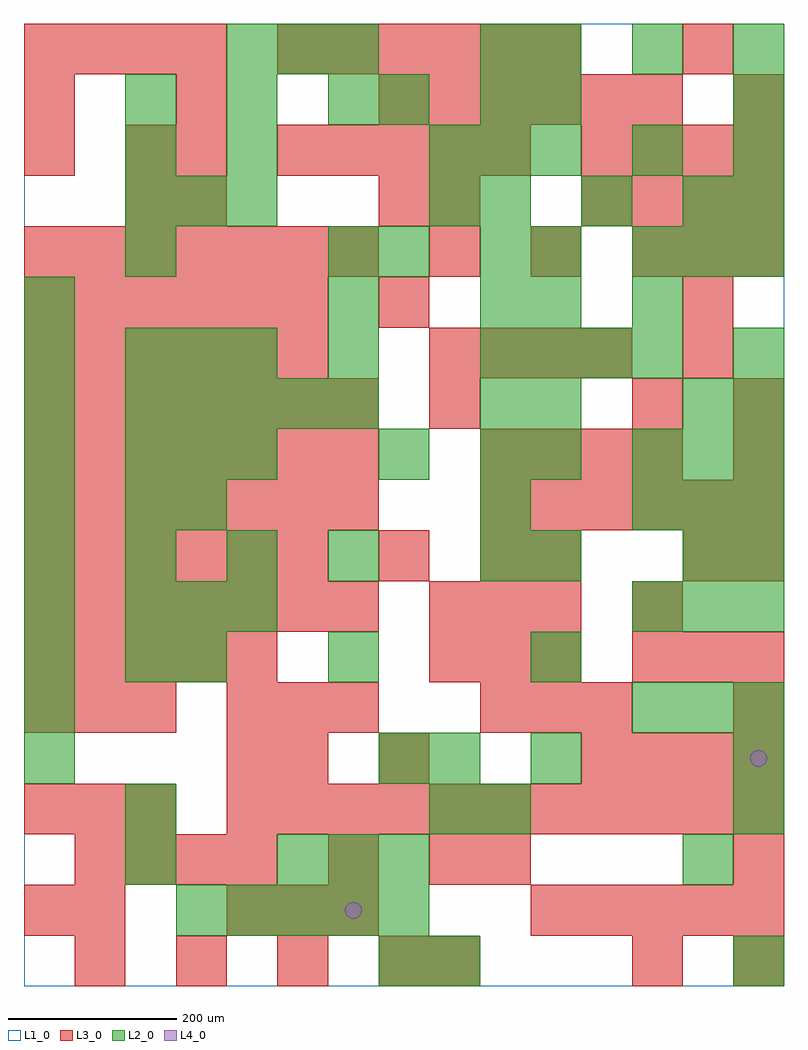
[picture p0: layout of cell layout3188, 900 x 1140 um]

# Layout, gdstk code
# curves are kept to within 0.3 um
import gdstk
lib = gdstk.Library(unit=1e-6, precision=1e-09)
def R(c, l, rs):  # rectangles x0, y0, x1, y1
    for r in rs: c.add(gdstk.rectangle(r[:2], r[2:], *l))
def A(c, l, x, y, w, h, nx, ny, dx, dy):  # array of equal rectangles
    R(c, l, [(x+i*dx, y+j*dy, x+i*dx+w, y+j*dy+h) for i in range(nx) for j in range(ny)])
def P(c, l, *ps):  # polygons
    for p in ps: c.add(gdstk.Polygon(p, *l))
L1_0 = (1, 0)
L2_0 = (2, 0)
L3_0 = (3, 0)
L4_0 = (4, 0)

layout3188 = lib.new_cell('layout3188')
R(layout3188, L1_0, [(0,0,900,1140)])
A(layout3188, L2_0, 180, 60, 60, 60, 5, 1, 60, 0)
A(layout3188, L2_0, 300, 120, 60, 60, 3, 1, 60, 0)
A(layout3188, L2_0, 120, 180, 60, 60, 1, 3, 0, 180)
A(layout3188, L2_0, 0, 240, 60, 60, 1, 4, 0, 60)
A(layout3188, L2_0, 600, 240, 60, 60, 1, 4, 0, 120)
A(layout3188, L2_0, 720, 300, 60, 60, 3, 3, 60, 120)
A(layout3188, L2_0, 120, 420, 60, 60, 3, 2, 60, 180)
A(layout3188, L2_0, 0, 480, 60, 60, 4, 1, 120, 0)
A(layout3188, L2_0, 540, 480, 60, 60, 1, 4, 0, 60)
A(layout3188, L2_0, 0, 540, 60, 60, 1, 5, 0, 60)
A(layout3188, L2_0, 720, 600, 60, 60, 3, 2, 60, 240)
A(layout3188, L2_0, 120, 660, 60, 60, 5, 1, 60, 0)
A(layout3188, L2_0, 120, 720, 60, 60, 3, 2, 60, 180)
A(layout3188, L2_0, 360, 720, 60, 60, 1, 3, 0, 60)
A(layout3188, L2_0, 540, 720, 60, 60, 4, 1, 60, 0)
A(layout3188, L2_0, 540, 900, 60, 60, 3, 1, 120, 0)
A(layout3188, L2_0, 840, 900, 60, 60, 1, 3, 0, 60)
A(layout3188, L2_0, 480, 960, 60, 60, 3, 1, 60, 0)
A(layout3188, L2_0, 120, 1020, 60, 60, 3, 1, 120, 0)
A(layout3188, L2_0, 240, 1080, 60, 60, 3, 1, 60, 0)
A(layout3188, L2_0, 600, 1080, 60, 60, 3, 1, 120, 0)
R(layout3188, L2_0, [(420,0,480,60), (480,0,540,60), (840,0,900,60), (120,120,180,180), (780,120,840,180), (480,180,540,240), (540,180,600,240), (840,180,900,240), (420,240,480,300), (480,240,540,300), (840,240,900,300), (180,360,240,420), (360,360,420,420), (780,480,840,540), (840,480,900,540), (180,540,240,600), (420,600,480,660), (600,660,660,720), (780,660,840,720), (840,660,900,720), (840,720,900,780), (540,780,600,840), (600,780,660,840), (720,780,780,840), (120,840,180,900), (420,840,480,900), (540,840,600,900), (600,840,660,900), (480,900,540,960), (120,960,180,1020), (240,960,300,1020), (720,960,780,1020), (420,1020,480,1080), (540,1020,600,1080), (600,1020,660,1080), (540,1080,600,1140)])
A(layout3188, L3_0, 60, 0, 60, 60, 4, 1, 120, 0)
A(layout3188, L3_0, 240, 60, 60, 60, 3, 2, 60, 240)
A(layout3188, L3_0, 600, 60, 60, 60, 5, 1, 60, 0)
A(layout3188, L3_0, 60, 120, 60, 60, 4, 1, 60, 0)
A(layout3188, L3_0, 840, 120, 60, 60, 1, 3, 0, 180)
A(layout3188, L3_0, 0, 180, 60, 60, 3, 2, 60, 120)
A(layout3188, L3_0, 240, 180, 60, 60, 11, 1, 60, 0)
A(layout3188, L3_0, 660, 240, 60, 60, 4, 2, 60, 660)
A(layout3188, L3_0, 540, 300, 60, 60, 3, 1, 60, 0)
A(layout3188, L3_0, 0, 360, 60, 60, 5, 1, 60, 0)
A(layout3188, L3_0, 480, 360, 60, 60, 3, 2, 60, 60)
A(layout3188, L3_0, 720, 360, 60, 60, 3, 1, 60, 0)
A(layout3188, L3_0, 0, 420, 60, 60, 7, 2, 60, 120)
A(layout3188, L3_0, 0, 480, 60, 60, 6, 2, 60, 240)
A(layout3188, L3_0, 540, 540, 60, 60, 6, 1, 60, 0)
A(layout3188, L3_0, 0, 600, 60, 60, 7, 2, 60, 60)
A(layout3188, L3_0, 540, 600, 60, 60, 4, 1, 60, 0)
A(layout3188, L3_0, 840, 660, 60, 60, 1, 3, 0, 180)
A(layout3188, L3_0, 480, 720, 60, 60, 4, 1, 60, 0)
A(layout3188, L3_0, 780, 720, 60, 60, 1, 3, 0, 60)
A(layout3188, L3_0, 0, 780, 60, 60, 6, 1, 60, 0)
A(layout3188, L3_0, 0, 840, 60, 60, 7, 1, 60, 0)
A(layout3188, L3_0, 480, 840, 60, 60, 3, 1, 120, 0)
A(layout3188, L3_0, 180, 900, 60, 60, 1, 3, 0, 60)
A(layout3188, L3_0, 300, 960, 60, 60, 5, 1, 60, 0)
A(layout3188, L3_0, 660, 960, 60, 60, 4, 1, 60, 0)
A(layout3188, L3_0, 420, 1020, 60, 60, 6, 1, 60, 0)
A(layout3188, L3_0, 0, 1080, 60, 60, 4, 1, 60, 0)
A(layout3188, L3_0, 300, 1080, 60, 60, 6, 1, 60, 0)
R(layout3188, L3_0, [(480,0,540,60), (720,0,780,60), (840,0,900,60), (0,60,60,120), (60,60,120,120), (360,120,420,180), (480,120,540,180), (540,120,600,180), (240,240,300,300), (300,240,360,300), (420,240,480,300), (720,420,780,480), (420,480,480,540), (540,480,600,540), (600,480,660,540), (780,480,840,540), (840,600,900,660), (480,660,540,720), (720,660,780,720), (420,780,480,840), (120,900,180,960), (420,900,480,960), (480,900,540,960), (0,960,60,1020), (120,960,180,1020), (0,1020,60,1080), (780,1080,840,1140)])
P(layout3188, L4_0, [(400,90),(399.239,93.827),(397.071,97.071),(393.827,99.239),(390,100),(386.173,99.239),(382.929,97.071),(380.761,93.827),(380,90),(380.761,86.173),(382.929,82.929),(386.173,80.761),(390,80),(393.827,80.761),(397.071,82.929),(399.239,86.173)],
  [(880,270),(879.239,273.827),(877.071,277.071),(873.827,279.239),(870,280),(866.173,279.239),(862.929,277.071),(860.761,273.827),(860,270),(860.761,266.173),(862.929,262.929),(866.173,260.761),(870,260),(873.827,260.761),(877.071,262.929),(879.239,266.173)])

lib.write_gds('layout3188.gds')
